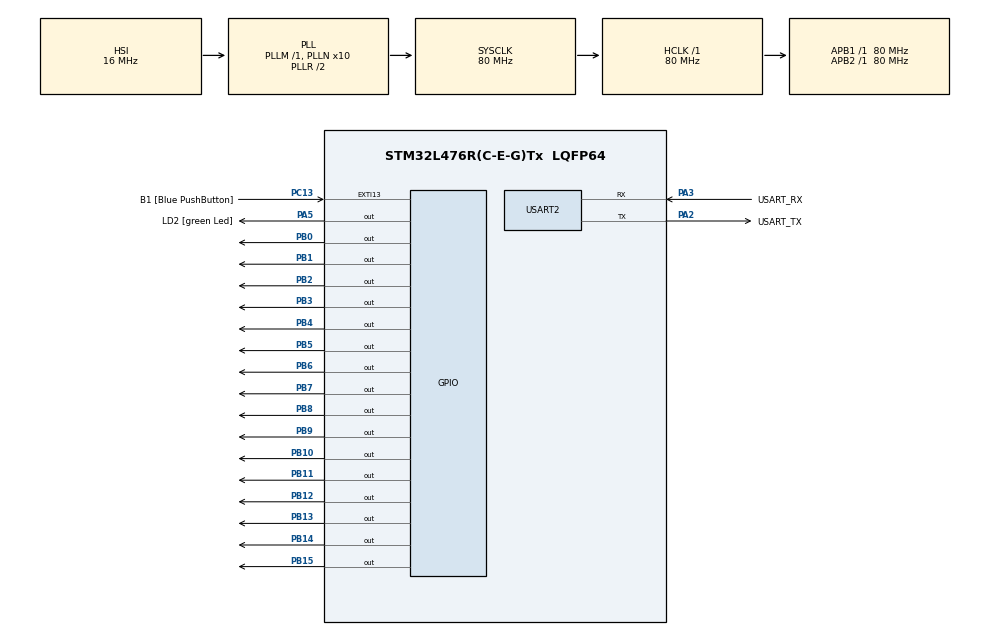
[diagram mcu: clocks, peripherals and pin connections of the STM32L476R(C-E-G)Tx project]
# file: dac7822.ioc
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Mcu.Family=STM32L4
Mcu.Name=STM32L476R(C-E-G)Tx
Mcu.Package=LQFP64
NVIC.PriorityGroup=NVIC_PRIORITYGROUP_4
NVIC.TIM7_IRQn=true\:0\:0\:false\:false\:true\:true\:true\:true
NVIC.USART2_IRQn=true\:0\:0\:false\:false\:true\:true\:true\:true
PA13\ (JTMS-SWDIO).GPIO_Label=TMS
PA13\ (JTMS-SWDIO).Mode=Serial_Wire
PA13\ (JTMS-SWDIO).Signal=SYS_JTMS-SWDIO
PA14\ (JTCK-SWCLK).GPIO_Label=TCK
PA14\ (JTCK-SWCLK).Mode=Serial_Wire
PA14\ (JTCK-SWCLK).Signal=SYS_JTCK-SWCLK
PA2.GPIO_Label=USART_TX
PA2.GPIO_Mode=GPIO_MODE_AF_PP
PA2.GPIO_PuPd=GPIO_NOPULL
PA2.GPIO_Speed=GPIO_SPEED_FREQ_VERY_HIGH
PA2.Mode=Asynchronous
PA2.Signal=USART2_TX
PA3.GPIO_Label=USART_RX
PA3.GPIO_Mode=GPIO_MODE_AF_PP
PA3.GPIO_PuPd=GPIO_NOPULL
PA3.GPIO_Speed=GPIO_SPEED_FREQ_VERY_HIGH
PA3.Mode=Asynchronous
PA3.Signal=USART2_RX
PA5.GPIO_Label=LD2 [green Led]
PA5.GPIO_ModeDefaultOutputPP=GPIO_MODE_OUTPUT_PP
PA5.GPIO_PuPd=GPIO_NOPULL
PA5.GPIO_Speed=GPIO_SPEED_FREQ_LOW
PA5.Signal=GPIO_Output
PB0.GPIO_Speed=GPIO_SPEED_FREQ_VERY_HIGH
PB0.Signal=GPIO_Output
PB1.GPIO_Speed=GPIO_SPEED_FREQ_VERY_HIGH
PB1.Signal=GPIO_Output
PB10.GPIO_Speed=GPIO_SPEED_FREQ_VERY_HIGH
PB10.Signal=GPIO_Output
PB11.GPIO_Speed=GPIO_SPEED_FREQ_VERY_HIGH
PB11.Signal=GPIO_Output
PB12.GPIO_Speed=GPIO_SPEED_FREQ_VERY_HIGH
PB12.Signal=GPIO_Output
PB13.GPIO_Speed=GPIO_SPEED_FREQ_VERY_HIGH
PB13.Signal=GPIO_Output
PB14.GPIO_Speed=GPIO_SPEED_FREQ_VERY_HIGH
PB14.Signal=GPIO_Output
PB15.GPIO_Speed=GPIO_SPEED_FREQ_VERY_HIGH
PB15.Signal=GPIO_Output
PB2.GPIO_Speed=GPIO_SPEED_FREQ_VERY_HIGH
PB2.Signal=GPIO_Output
PB3\ (JTDO-TRACESWO).GPIO_Speed=GPIO_SPEED_FREQ_VERY_HIGH
PB3\ (JTDO-TRACESWO).Signal=GPIO_Output
PB4\ (NJTRST).GPIO_Speed=GPIO_SPEED_FREQ_VERY_HIGH
PB4\ (NJTRST).Signal=GPIO_Output
PB5.GPIO_Speed=GPIO_SPEED_FREQ_VERY_HIGH
PB5.Signal=GPIO_Output
PB6.GPIO_Speed=GPIO_SPEED_FREQ_VERY_HIGH
PB6.Signal=GPIO_Output
PB7.GPIO_Speed=GPIO_SPEED_FREQ_VERY_HIGH
PB7.Signal=GPIO_Output
PB8.GPIO_Speed=GPIO_SPEED_FREQ_VERY_HIGH
PB8.Signal=GPIO_Output
PB9.GPIO_Speed=GPIO_SPEED_FREQ_VERY_HIGH
PB9.Signal=GPIO_Output
PC13.GPIO_Label=B1 [Blue PushButton]
PC13.GPIO_ModeDefaultEXTI=GPIO_MODE_IT_FALLING
PC13.GPIO_PuPd=GPIO_NOPULL
PC13.Signal=GPXTI13
PC14-OSC32_IN\ (PC14).Mode=LSE-External-Oscillator
PC14-OSC32_IN\ (PC14).Signal=RCC_OSC32_IN
PC15-OSC32_OUT\ (PC15).Mode=LSE-External-Oscillator
PC15-OSC32_OUT\ (PC15).Signal=RCC_OSC32_OUT
PH0-OSC_IN\ (PH0).Mode=HSE-External-Oscillator
PH0-OSC_IN\ (PH0).Signal=RCC_OSC_IN
PH1-OSC_OUT\ (PH1).Mode=HSE-External-Oscillator
PH1-OSC_OUT\ (PH1).Signal=RCC_OSC_OUT
ProjectManager.HeapSize=0x200
ProjectManager.StackSize=0x400
ProjectManager.TargetToolchain=STM32CubeIDE
RCC.ADCFreq_Value=64000000
RCC.AHBFreq_Value=80000000
RCC.APB1Freq_Value=80000000
RCC.APB1TimFreq_Value=80000000
RCC.APB2Freq_Value=80000000
RCC.APB2TimFreq_Value=80000000
RCC.CortexFreq_Value=80000000
RCC.HCLKFreq_Value=80000000
RCC.HSE_VALUE=8000000
RCC.HSI_VALUE=16000000
RCC.MSI_VALUE=4000000
RCC.PLLN=10
RCC.PLLSourceVirtual=RCC_PLLSOURCE_HSI
RCC.PREFETCH_ENABLE=1
RCC.SYSCLKFreq_VALUE=80000000
RCC.SYSCLKSource=RCC_SYSCLKSOURCE_PLLCLK
RCC.USBFreq_Value=64000000
RCC.VCOOutputFreq_Value=160000000
TIM7.AutoReloadPreload=TIM_AUTORELOAD_PRELOAD_ENABLE
TIM7.Period=25
USART2.VirtualMode-Asynchronous=VM_ASYNC
VP_TIM7_VS_ClockSourceINT.Mode=Enable_Timer
board=NUCLEO-L476RG

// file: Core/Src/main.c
/* USER CODE BEGIN Header */
/**
  ******************************************************************************
  * @file           : main.c
  * @brief          : Main program body
  ******************************************************************************
  * @attention
  *
  * Copyright (c) 2023 STMicroelectronics.
  * All rights reserved.
  *
  * This software is licensed under terms that can be found in the LICENSE file
  * in the root directory of this software component.
  * If no LICENSE file comes with this software, it is provided AS-IS.
  *
  ******************************************************************************
  */
/* USER CODE END Header */
#include "main.h"

TIM_HandleTypeDef htim7;

UART_HandleTypeDef huart2;

void SystemClock_Config(void);
static void MX_GPIO_Init(void);
static void MX_USART2_UART_Init(void);
static void MX_TIM7_Init(void);

/* USER CODE BEGIN 0 */

uint8_t Rx_data[2];

uint16_t dacValue = 0;
uint8_t setData = 0;

/* USER CODE END 0 */

int main(void)
{

  /* MCU Configuration--------------------------------------------------------*/

  /* Reset of all peripherals, Initializes the Flash interface and the Systick. */
  HAL_Init();

  /* Configure the system clock */
  SystemClock_Config();

  /* Initialize all configured peripherals */
  MX_GPIO_Init();
  MX_USART2_UART_Init();
  MX_TIM7_Init();
  /* USER CODE BEGIN 2 */

  HAL_UART_Receive_IT(&huart2, Rx_data, 2);

  // BSRR is a register that controls the GPIO outputs
  // see reference manual page 299 (https://www.st.com/resource/en/reference_manual/rm0351-stm32l47xxx-stm32l48xxx-stm32l49xxx-and-stm32l4axxx-advanced-armbased-32bit-mcus-stmicroelectronics.pdf)
  GPIOB->BSRR = (uint32_t)  ((1 << 15) | (1 << 14) | (1 << 13)); // set CLR(Pin 15), RW(14) and CS(13) to high

  //HAL_TIM_Base_Start_IT(&htim7);
  /* USER CODE END 2 */

  /* Infinite loop */
  /* USER CODE BEGIN WHILE */
  while (1)
  {
	  GPIOB->BSRR = (uint32_t) ((~dacValue) << 16 | (dacValue)); // set pin low -> write ones to upper 16 bits of 32 bit value in register
	  	  	  	  	  	  	  	  	  	  	  	  	  	  	  	 // set pin high -> write ones to lower 16 bits of 32 bit value in register
	  // ugly delay but works
	  for (int i = 0; i < 1; i++)
	  {
		  i--;
		  i++;
	  }
	  GPIOB->BSRR = (uint32_t) ((1 << 14) | (1 << 13)); // pull RW and CS high to clock in the data (as per the manual)
	  setData = 0; // this variable is unused, becomes 1 after data is received from UART

	  // again, this is ugly, but works
	  for (int i = 0; i < 100; i++)
	  {
		  i--;
		  i++;
	  }
	  dacValue = 4095 - dacValue;
	  dacValue &= 0b0000111111111111;
	  dacValue |= (0x80 << 8); // pin 15 is CLR, set to high always

    /* USER CODE END WHILE */

  }
}

void SystemClock_Config(void)
{
  RCC_OscInitTypeDef RCC_OscInitStruct = {0};
  RCC_ClkInitTypeDef RCC_ClkInitStruct = {0};

  /** Configure the main internal regulator output voltage
  */
  if (HAL_PWREx_ControlVoltageScaling(PWR_REGULATOR_VOLTAGE_SCALE1) != HAL_OK)
  {
    Error_Handler();
  }

  /** Initializes the RCC Oscillators according to the specified parameters
  * in the RCC_OscInitTypeDef structure.
  */
  RCC_OscInitStruct.OscillatorType = RCC_OSCILLATORTYPE_HSI;
  RCC_OscInitStruct.HSIState = RCC_HSI_ON;
  RCC_OscInitStruct.HSICalibrationValue = RCC_HSICALIBRATION_DEFAULT;
  RCC_OscInitStruct.PLL.PLLState = RCC_PLL_ON;
  RCC_OscInitStruct.PLL.PLLSource = RCC_PLLSOURCE_HSI;
  RCC_OscInitStruct.PLL.PLLM = 1;
  RCC_OscInitStruct.PLL.PLLN = 10;
  RCC_OscInitStruct.PLL.PLLP = RCC_PLLP_DIV7;
  RCC_OscInitStruct.PLL.PLLQ = RCC_PLLQ_DIV2;
  RCC_OscInitStruct.PLL.PLLR = RCC_PLLR_DIV2;
  if (HAL_RCC_OscConfig(&RCC_OscInitStruct) != HAL_OK)
  {
    Error_Handler();
  }

  /** Initializes the CPU, AHB and APB buses clocks
  */
  RCC_ClkInitStruct.ClockType = RCC_CLOCKTYPE_HCLK|RCC_CLOCKTYPE_SYSCLK
                              |RCC_CLOCKTYPE_PCLK1|RCC_CLOCKTYPE_PCLK2;
  RCC_ClkInitStruct.SYSCLKSource = RCC_SYSCLKSOURCE_PLLCLK;
  RCC_ClkInitStruct.AHBCLKDivider = RCC_SYSCLK_DIV1;
  RCC_ClkInitStruct.APB1CLKDivider = RCC_HCLK_DIV1;
  RCC_ClkInitStruct.APB2CLKDivider = RCC_HCLK_DIV1;

  if (HAL_RCC_ClockConfig(&RCC_ClkInitStruct, FLASH_LATENCY_4) != HAL_OK)
  {
    Error_Handler();
  }
}

static void MX_TIM7_Init(void)
{

  TIM_MasterConfigTypeDef sMasterConfig = {0};

  htim7.Instance = TIM7;
  htim7.Init.Prescaler = 0;
  htim7.Init.CounterMode = TIM_COUNTERMODE_UP;
  htim7.Init.Period = 25;
  htim7.Init.AutoReloadPreload = TIM_AUTORELOAD_PRELOAD_ENABLE;
  if (HAL_TIM_Base_Init(&htim7) != HAL_OK)
  {
    Error_Handler();
  }
  sMasterConfig.MasterOutputTrigger = TIM_TRGO_RESET;
  sMasterConfig.MasterSlaveMode = TIM_MASTERSLAVEMODE_DISABLE;
  if (HAL_TIMEx_MasterConfigSynchronization(&htim7, &sMasterConfig) != HAL_OK)
  {
    Error_Handler();
  }

}

static void MX_USART2_UART_Init(void)
{

  huart2.Instance = USART2;
  huart2.Init.BaudRate = 115200;
  huart2.Init.WordLength = UART_WORDLENGTH_8B;
  huart2.Init.StopBits = UART_STOPBITS_1;
  huart2.Init.Parity = UART_PARITY_NONE;
  huart2.Init.Mode = UART_MODE_TX_RX;
  huart2.Init.HwFlowCtl = UART_HWCONTROL_NONE;
  huart2.Init.OverSampling = UART_OVERSAMPLING_16;
  huart2.Init.OneBitSampling = UART_ONE_BIT_SAMPLE_DISABLE;
  huart2.AdvancedInit.AdvFeatureInit = UART_ADVFEATURE_NO_INIT;
  if (HAL_UART_Init(&huart2) != HAL_OK)
  {
    Error_Handler();
  }

}

static void MX_GPIO_Init(void)
{
  GPIO_InitTypeDef GPIO_InitStruct = {0};

  /* GPIO Ports Clock Enable */
  __HAL_RCC_GPIOC_CLK_ENABLE();
  __HAL_RCC_GPIOH_CLK_ENABLE();
  __HAL_RCC_GPIOA_CLK_ENABLE();
  __HAL_RCC_GPIOB_CLK_ENABLE();

  /*Configure GPIO pin Output Level */
  HAL_GPIO_WritePin(LD2_GPIO_Port, LD2_Pin, GPIO_PIN_RESET);

  /*Configure GPIO pin Output Level */
  HAL_GPIO_WritePin(GPIOB, GPIO_PIN_0|GPIO_PIN_1|GPIO_PIN_2|GPIO_PIN_10
                          |GPIO_PIN_11|GPIO_PIN_12|GPIO_PIN_13|GPIO_PIN_14
                          |GPIO_PIN_15|GPIO_PIN_3|GPIO_PIN_4|GPIO_PIN_5
                          |GPIO_PIN_6|GPIO_PIN_7|GPIO_PIN_8|GPIO_PIN_9, GPIO_PIN_RESET);

  /*Configure GPIO pin : B1_Pin */
  GPIO_InitStruct.Pin = B1_Pin;
  GPIO_InitStruct.Mode = GPIO_MODE_IT_FALLING;
  GPIO_InitStruct.Pull = GPIO_NOPULL;
  HAL_GPIO_Init(B1_GPIO_Port, &GPIO_InitStruct);

  /*Configure GPIO pin : LD2_Pin */
  GPIO_InitStruct.Pin = LD2_Pin;
  GPIO_InitStruct.Mode = GPIO_MODE_OUTPUT_PP;
  GPIO_InitStruct.Pull = GPIO_NOPULL;
  GPIO_InitStruct.Speed = GPIO_SPEED_FREQ_LOW;
  HAL_GPIO_Init(LD2_GPIO_Port, &GPIO_InitStruct);

  /*Configure GPIO pins : PB0 PB1 PB2 PB10
                           PB11 PB12 PB13 PB14
                           PB15 PB3 PB4 PB5
                           PB6 PB7 PB8 PB9 */
  GPIO_InitStruct.Pin = GPIO_PIN_0|GPIO_PIN_1|GPIO_PIN_2|GPIO_PIN_10
                          |GPIO_PIN_11|GPIO_PIN_12|GPIO_PIN_13|GPIO_PIN_14
                          |GPIO_PIN_15|GPIO_PIN_3|GPIO_PIN_4|GPIO_PIN_5
                          |GPIO_PIN_6|GPIO_PIN_7|GPIO_PIN_8|GPIO_PIN_9;
  GPIO_InitStruct.Mode = GPIO_MODE_OUTPUT_PP;
  GPIO_InitStruct.Pull = GPIO_NOPULL;
  GPIO_InitStruct.Speed = GPIO_SPEED_FREQ_VERY_HIGH;
  HAL_GPIO_Init(GPIOB, &GPIO_InitStruct);

}

/* USER CODE BEGIN 4 */

void parseData()
{
	dacValue = Rx_data[0] << 8 | Rx_data[1];
	setData = 1;
}

void HAL_UART_RxCpltCallback(UART_HandleTypeDef *huart)
{
	parseData();
	HAL_UART_Receive_IT(&huart2, Rx_data, 2);
}

/* USER CODE END 4 */

void Error_Handler(void)
{
  __disable_irq();
  while (1)
  {
  }
}
